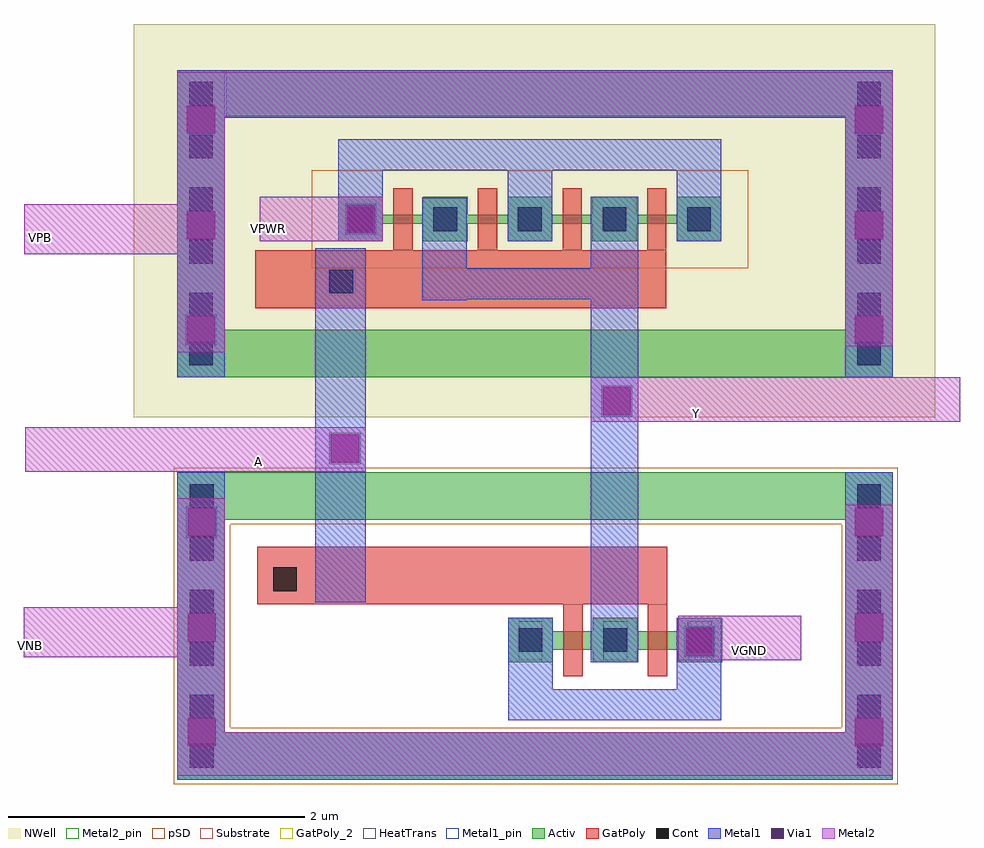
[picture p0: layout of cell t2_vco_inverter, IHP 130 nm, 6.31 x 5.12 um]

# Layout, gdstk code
import gdstk
lib = gdstk.Library(unit=1e-6, precision=1e-09)
def R(c, l, rs):  # rectangles x0, y0, x1, y1
    for r in rs: c.add(gdstk.rectangle(r[:2], r[2:], *l))
def A(c, l, x, y, w, h, nx, ny, dx, dy):  # array of equal rectangles
    R(c, l, [(x+i*dx, y+j*dy, x+i*dx+w, y+j*dy+h) for i in range(nx) for j in range(ny)])
Activ = (1, 0)
GatPoly = (5, 0)
GatPoly_2 = (5, 2)
Cont = (6, 0)
Metal1 = (8, 0)
Metal1_pin = (8, 2)
Metal2 = (10, 0)
Metal2_pin = (10, 2)
pSD = (14, 0)
Via1 = (19, 0)
NWell = (31, 0)
Substrate = (40, 0)
HeatTrans = (51, 0)

pmos = lib.new_cell('pmos')
A(pmos, Activ, 0, 0, 0.3, 0.3, 5, 1, 0.57, 0)
R(pmos, Activ, [(0,0.12,2.58,0.18)])
A(pmos, GatPoly, 0.37, -0.06, 0.13, 0.42, 4, 1, 0.57, 0)
R(pmos, GatPoly, [(0.37,-0.06,0.5,0.36)])
A(pmos, Cont, 0.07, 0.07, 0.16, 0.16, 5, 1, 0.57, 0)
A(pmos, Metal1, 0.64, 0.02, 0.16, 0.26, 4, 1, 0.57, 0)
R(pmos, Metal1, [(0.07,0.02,0.23,0.28), (0.07,0.02,0.23,0.28), (0.64,0.02,0.8,0.28)])
R(pmos, pSD, [(-0.18,-0.18,2.76,0.48)])
R(pmos, NWell, [(-0.31,-0.31,2.89,0.61)])
R(pmos, Substrate, [(2.28,0,2.58,0.3)])
A(pmos, HeatTrans, 0.37, -0.06, 0.13, 0.42, 4, 1, 0.57, 0)
pmos.add(gdstk.Label('pmos', (0.435,0.15), layer=63, texttype=0))
pmos.add(gdstk.Label('pmos', (0.435,0.15), layer=51, texttype=0))
pmos.add(gdstk.Label('pmos', (1.005,0.15), layer=51, texttype=0))
pmos.add(gdstk.Label('pmos', (1.575,0.15), layer=51, texttype=0))
pmos.add(gdstk.Label('pmos', (2.145,0.15), layer=51, texttype=0))

nmos = lib.new_cell('nmos')
A(nmos, Activ, 0, 0, 0.3, 0.3, 3, 1, 0.57, 0)
R(nmos, Activ, [(0,0.085,1.44,0.21)])
R(nmos, GatPoly, [(0.37,-0.095,0.5,0.39), (0.94,-0.095,1.07,0.39)])
R(nmos, GatPoly_2, [(0.37,-0.095,0.5,0.39)])
A(nmos, Metal1, 0.07, 0.015, 0.16, 0.26, 3, 1, 0.57, 0)
R(nmos, Metal1_pin, [(0.07,0.015,0.23,0.275), (0.64,0.015,0.8,0.275)])
R(nmos, HeatTrans, [(0.37,-0.095,0.5,0.39), (0.94,-0.095,1.07,0.39)])
nmos.add(gdstk.Label('nmos', (0.435,0.148), layer=63, texttype=0))
nmos.add(gdstk.Label('nmos', (0.435,0.148), layer=51, texttype=0))
nmos.add(gdstk.Label('nmos', (1.005,0.148), layer=51, texttype=0))

t2_vco_inverter = lib.new_cell('t2_vco_inverter')
R(t2_vco_inverter, Activ, [(-4.745,-2.57,-0.245,-2.25), (-0.245,-2.57,0.075,-0.82), (-4.745,-2.25,-4.425,-0.5), (-4.425,-0.82,0.075,-0.5), (-4.745,0.14,-0.245,0.46), (-0.245,0.14,0.075,1.89), (-4.745,0.46,-4.425,2.21), (-4.425,1.89,0.075,2.21)])
R(t2_vco_inverter, GatPoly, [(-4.205,-1.39,-1.445,-1), (-4.22,0.605,-1.45,0.995)])
A(t2_vco_inverter, Cont, -4.66, -2.16, 0.16, 0.16, 1, 5, 0, 0.355)
A(t2_vco_inverter, Cont, -0.165, -2.16, 0.16, 0.16, 1, 5, 0, 0.355)
A(t2_vco_inverter, Cont, -4.665, 0.55, 0.16, 0.16, 1, 5, 0, 0.355)
A(t2_vco_inverter, Cont, -0.165, 0.55, 0.16, 0.16, 1, 5, 0, 0.355)
R(t2_vco_inverter, Cont, [(-4.66,-2.49,-4.5,-2.33), (-0.165,-2.49,-0.005,-2.33), (-1.305,-1.715,-1.145,-1.555), (-2.445,-1.71,-2.285,-1.55), (-1.875,-1.71,-1.715,-1.55), (-4.1,-1.3,-3.94,-1.14), (-4.665,0.22,-4.505,0.38), (-0.165,0.22,-0.005,0.38), (-3.72,0.705,-3.56,0.865)])
A(t2_vco_inverter, Metal1, -3.66, 1.055, 0.3, 0.69, 3, 1, 1.14, 0)
R(t2_vco_inverter, Metal1, [(-4.745,-2.57,-4.425,-0.5), (-4.745,-2.57,-4.425,-0.5), (-4.425,-2.57,-0.245,-2.25), (-0.245,-2.57,0.075,-0.5), (-2.515,-2.17,-2.215,-1.48), (-2.22,-2.17,-1.38,-1.96), (-1.38,-2.17,-1.08,-1.48), (-1.96,-1.78,-1.64,1.355), (-3.815,-1.375,-3.475,1.01), (-4.745,0.14,-4.425,2.21), (-0.245,0.14,0.075,2.21), (-3.095,0.66,-2.795,1.35), (-2.8,0.665,-1.96,0.875), (-3.36,1.535,-2.52,1.745), (-2.22,1.535,-1.38,1.745), (-4.42,1.89,-0.245,2.21)])
A(t2_vco_inverter, Metal1_pin, -2.445, -1.765, 0.16, 0.26, 3, 1, 0.57, 0)
R(t2_vco_inverter, Metal2, [(-4.745,-2.545,-4.425,-0.675), (-4.425,-2.545,-0.245,-2.25), (-0.245,-2.545,0.075,-0.72), (-1.37,-1.765,-0.54,-1.465), (-5.78,-1.745,-4.43,-1.41), (-5.77,-0.495,-3.475,-0.195), (-1.96,-0.16,0.53,0.14), (-4.745,0.31,-4.425,2.195), (-0.245,0.35,0.075,2.195), (-5.775,0.97,-4.43,1.305), (-4.19,1.055,-3.36,1.355), (-4.425,1.9,-0.245,2.195)])
R(t2_vco_inverter, Metal2_pin, [(-1.33,-1.745,-1.12,-1.535), (-4.685,-0.94,-4.475,-0.73), (-3.72,-0.445,-3.51,-0.235), (-1.89,-0.125,-1.68,0.085), (-4.69,0.355,-4.48,0.565), (-3.615,1.1,-3.405,1.31)])
R(t2_vco_inverter, pSD, [(-4.77,-2.6,-0.27,-2.22), (-0.27,-2.6,0.11,-0.85), (-4.77,-2.22,-4.39,-0.47), (-4.39,-0.85,0.11,-0.47)])
R(t2_vco_inverter, Via1, [(-4.675,-2.345,-4.485,-2.155), (-0.18,-2.345,0.01,-2.155), (-1.32,-1.735,-1.13,-1.545), (-4.675,-1.64,-4.485,-1.45), (-0.18,-1.64,0.01,-1.45), (-4.675,-0.93,-4.485,-0.74), (-0.18,-0.93,0.01,-0.74), (-3.71,-0.435,-3.52,-0.245), (-1.88,-0.115,-1.69,0.075), (-4.68,0.365,-4.49,0.555), (-0.18,0.365,0.01,0.555), (-4.68,1.07,-4.49,1.26), (-0.18,1.07,0.01,1.26), (-3.605,1.11,-3.415,1.3), (-4.68,1.78,-4.49,1.97), (-0.18,1.78,0.01,1.97)])
R(t2_vco_inverter, NWell, [(-5.04,-0.13,0.36,2.52)])
t2_vco_inverter.add(gdstk.Reference(pmos, (-3.66,1.055)))
t2_vco_inverter.add(gdstk.Reference(nmos, (-2.515,-1.78)))
t2_vco_inverter.add(gdstk.Label('Y', (-1.245,-0.105), layer=10, texttype=2))
t2_vco_inverter.add(gdstk.Label('A', (-4.2,-0.425), layer=10, texttype=2))
t2_vco_inverter.add(gdstk.Label('VPWR', (-4.13,1.14), layer=10, texttype=2))
t2_vco_inverter.add(gdstk.Label('VGND', (-0.89,-1.7), layer=10, texttype=2))
t2_vco_inverter.add(gdstk.Label('VPB', (-5.665,1.08), layer=10, texttype=2))
t2_vco_inverter.add(gdstk.Label('VNB', (-5.735,-1.67), layer=10, texttype=2))

lib.write_gds('t2_vco_inverter.gds')
